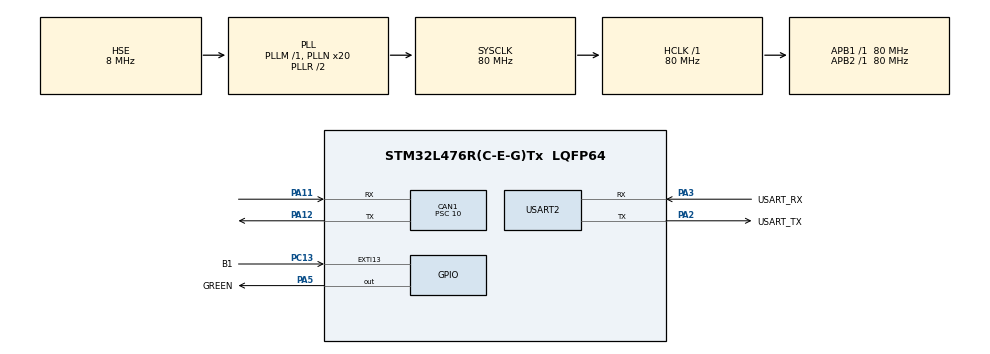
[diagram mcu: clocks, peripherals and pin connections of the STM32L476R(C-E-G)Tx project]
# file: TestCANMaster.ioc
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CAN1.BS1=CAN_BS1_13TQ
CAN1.BS2=CAN_BS2_2TQ
CAN1.CalculateBaudRate=500000
CAN1.CalculateTimeBit=2000
CAN1.CalculateTimeQuantum=125.0
CAN1.Mode=CAN_MODE_LOOPBACK
CAN1.Prescaler=10
Mcu.Family=STM32L4
Mcu.Name=STM32L476R(C-E-G)Tx
Mcu.Package=LQFP64
NVIC.CAN1_RX0_IRQn=true\:0\:0\:false\:false\:true\:true\:true\:true
NVIC.CAN1_RX1_IRQn=true\:0\:0\:false\:false\:true\:true\:true\:true
NVIC.PriorityGroup=NVIC_PRIORITYGROUP_4
PA11.Mode=CAN_Activate
PA11.Signal=CAN1_RX
PA12.Mode=CAN_Activate
PA12.Signal=CAN1_TX
PA13\ (JTMS-SWDIO).GPIO_Label=TMS
PA13\ (JTMS-SWDIO).Mode=Serial_Wire
PA13\ (JTMS-SWDIO).Signal=SYS_JTMS-SWDIO
PA14\ (JTCK-SWCLK).GPIO_Label=TCK
PA14\ (JTCK-SWCLK).Mode=Serial_Wire
PA14\ (JTCK-SWCLK).Signal=SYS_JTCK-SWCLK
PA2.GPIO_Label=USART_TX
PA2.GPIO_Mode=GPIO_MODE_AF_PP
PA2.GPIO_PuPd=GPIO_NOPULL
PA2.GPIO_Speed=GPIO_SPEED_FREQ_VERY_HIGH
PA2.Mode=Asynchronous
PA2.Signal=USART2_TX
PA3.GPIO_Label=USART_RX
PA3.GPIO_Mode=GPIO_MODE_AF_PP
PA3.GPIO_PuPd=GPIO_NOPULL
PA3.GPIO_Speed=GPIO_SPEED_FREQ_VERY_HIGH
PA3.Mode=Asynchronous
PA3.Signal=USART2_RX
PA5.GPIO_Label=GREEN
PA5.GPIO_ModeDefaultOutputPP=GPIO_MODE_OUTPUT_PP
PA5.GPIO_PuPd=GPIO_NOPULL
PA5.GPIO_Speed=GPIO_SPEED_FREQ_LOW
PA5.Signal=GPIO_Output
PB3\ (JTDO-TRACESWO).GPIO_Label=SWO
PB3\ (JTDO-TRACESWO).Signal=SYS_JTDO-SWO
PC13.GPIO_Label=B1
PC13.GPIO_ModeDefaultEXTI=GPIO_MODE_IT_FALLING
PC13.GPIO_PuPd=GPIO_NOPULL
PC13.Signal=GPXTI13
PC14-OSC32_IN\ (PC14).Mode=LSE-External-Oscillator
PC14-OSC32_IN\ (PC14).Signal=RCC_OSC32_IN
PC15-OSC32_OUT\ (PC15).Mode=LSE-External-Oscillator
PC15-OSC32_OUT\ (PC15).Signal=RCC_OSC32_OUT
PH0-OSC_IN\ (PH0).Mode=HSE-External-Clock-Source
PH0-OSC_IN\ (PH0).Signal=RCC_OSC_IN
PH1-OSC_OUT\ (PH1).Signal=RCC_OSC_OUT
ProjectManager.HeapSize=0x200
ProjectManager.StackSize=0x400
ProjectManager.TargetToolchain=STM32CubeIDE
RCC.ADCFreq_Value=32000000
RCC.AHBFreq_Value=80000000
RCC.APB1Freq_Value=80000000
RCC.APB1TimFreq_Value=80000000
RCC.APB2Freq_Value=80000000
RCC.APB2TimFreq_Value=80000000
RCC.CortexFreq_Value=80000000
RCC.HCLKFreq_Value=80000000
RCC.HSE_VALUE=8000000
RCC.HSI_VALUE=16000000
RCC.MSI_VALUE=4000000
RCC.PLLN=20
RCC.PLLSourceVirtual=RCC_PLLSOURCE_HSE
RCC.PREFETCH_ENABLE=1
RCC.SYSCLKFreq_VALUE=80000000
RCC.SYSCLKSource=RCC_SYSCLKSOURCE_PLLCLK
RCC.USBFreq_Value=32000000
RCC.VCOOutputFreq_Value=160000000
USART2.VirtualMode-Asynchronous=VM_ASYNC
board=NUCLEO-L476RG

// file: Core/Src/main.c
/* USER CODE BEGIN Header */
/**
  ******************************************************************************
  * @file           : main.c
  * @brief          : Main program body
  ******************************************************************************
  * @attention
  *
  * Copyright (c) 2023 STMicroelectronics.
  * All rights reserved.
  *
  * This software is licensed under terms that can be found in the LICENSE file
  * in the root directory of this software component.
  * If no LICENSE file comes with this software, it is provided AS-IS.
  *
  ******************************************************************************
  */
/* USER CODE END Header */
#include "main.h"

CAN_HandleTypeDef hcan1;

UART_HandleTypeDef huart2;

void SystemClock_Config(void);
static void MX_GPIO_Init(void);
static void MX_USART2_UART_Init(void);
static void MX_CAN1_Init(void);

/* USER CODE BEGIN 0 */
uint32_t TxMailbox;

uint8_t TxData[8];
uint8_t RxData[8];

CAN_TxHeaderTypeDef TxHeader;
CAN_RxHeaderTypeDef RxHeader;

uint8_t count;
void HAL_CAN_RxFifo0MsgPendingCallback(CAN_HandleTypeDef *hcan) {
	HAL_CAN_GetRxMessage(hcan, CAN_RX_FIFO0, &RxHeader, RxData);
}
/* USER CODE END 0 */

int main(void)
{

  /* MCU Configuration--------------------------------------------------------*/

  /* Reset of all peripherals, Initializes the Flash interface and the Systick. */
  HAL_Init();

  /* Configure the system clock */
  SystemClock_Config();

  /* Initialize all configured peripherals */
  MX_GPIO_Init();
  MX_USART2_UART_Init();
  MX_CAN1_Init();
  /* USER CODE BEGIN 2 */

  HAL_CAN_Start(&hcan1);

  HAL_CAN_ActivateNotification(&hcan1, CAN_IT_RX_FIFO0_MSG_PENDING);

  TxHeader.DLC = 1;
  TxHeader.ExtId = 0;
  TxHeader.IDE = CAN_ID_STD;
  TxHeader.RTR = CAN_RTR_DATA;
  TxHeader.StdId = 0x103;
  TxHeader.TransmitGlobalTime = DISABLE;

  TxData[0] = 0xf3;

  HAL_CAN_AddTxMessage(&hcan1, &TxHeader, TxData, &TxMailbox);
  /* USER CODE END 2 */

  /* Infinite loop */
  while (1)
  {

  }
}

void SystemClock_Config(void)
{
  RCC_OscInitTypeDef RCC_OscInitStruct = {0};
  RCC_ClkInitTypeDef RCC_ClkInitStruct = {0};

  /** Configure the main internal regulator output voltage
  */
  if (HAL_PWREx_ControlVoltageScaling(PWR_REGULATOR_VOLTAGE_SCALE1) != HAL_OK)
  {
    Error_Handler();
  }

  /** Initializes the RCC Oscillators according to the specified parameters
  * in the RCC_OscInitTypeDef structure.
  */
  RCC_OscInitStruct.OscillatorType = RCC_OSCILLATORTYPE_HSE;
  RCC_OscInitStruct.HSEState = RCC_HSE_BYPASS;
  RCC_OscInitStruct.PLL.PLLState = RCC_PLL_ON;
  RCC_OscInitStruct.PLL.PLLSource = RCC_PLLSOURCE_HSE;
  RCC_OscInitStruct.PLL.PLLM = 1;
  RCC_OscInitStruct.PLL.PLLN = 20;
  RCC_OscInitStruct.PLL.PLLP = RCC_PLLP_DIV7;
  RCC_OscInitStruct.PLL.PLLQ = RCC_PLLQ_DIV2;
  RCC_OscInitStruct.PLL.PLLR = RCC_PLLR_DIV2;
  if (HAL_RCC_OscConfig(&RCC_OscInitStruct) != HAL_OK)
  {
    Error_Handler();
  }

  /** Initializes the CPU, AHB and APB buses clocks
  */
  RCC_ClkInitStruct.ClockType = RCC_CLOCKTYPE_HCLK|RCC_CLOCKTYPE_SYSCLK
                              |RCC_CLOCKTYPE_PCLK1|RCC_CLOCKTYPE_PCLK2;
  RCC_ClkInitStruct.SYSCLKSource = RCC_SYSCLKSOURCE_PLLCLK;
  RCC_ClkInitStruct.AHBCLKDivider = RCC_SYSCLK_DIV1;
  RCC_ClkInitStruct.APB1CLKDivider = RCC_HCLK_DIV1;
  RCC_ClkInitStruct.APB2CLKDivider = RCC_HCLK_DIV1;

  if (HAL_RCC_ClockConfig(&RCC_ClkInitStruct, FLASH_LATENCY_4) != HAL_OK)
  {
    Error_Handler();
  }
}

static void MX_CAN1_Init(void)
{

  hcan1.Instance = CAN1;
  hcan1.Init.Prescaler = 10;
  hcan1.Init.Mode = CAN_MODE_LOOPBACK;
  hcan1.Init.SyncJumpWidth = CAN_SJW_1TQ;
  hcan1.Init.TimeSeg1 = CAN_BS1_13TQ;
  hcan1.Init.TimeSeg2 = CAN_BS2_2TQ;
  hcan1.Init.TimeTriggeredMode = DISABLE;
  hcan1.Init.AutoBusOff = DISABLE;
  hcan1.Init.AutoWakeUp = DISABLE;
  hcan1.Init.AutoRetransmission = DISABLE;
  hcan1.Init.ReceiveFifoLocked = DISABLE;
  hcan1.Init.TransmitFifoPriority = DISABLE;
  if (HAL_CAN_Init(&hcan1) != HAL_OK)
  {
    Error_Handler();
  }
  /* USER CODE BEGIN CAN1_Init 2 */
  CAN_FilterTypeDef canfilterconfig;

  canfilterconfig.FilterActivation = CAN_FILTER_ENABLE;
  canfilterconfig.FilterBank = 10;
  canfilterconfig.FilterFIFOAssignment = CAN_RX_FIFO0;
  canfilterconfig.FilterIdHigh = 0x103<<5;
  canfilterconfig.FilterIdLow = 0x0000;
  canfilterconfig.FilterMaskIdHigh = 0x103<<5;
  canfilterconfig.FilterMaskIdLow = 0x0000;
  canfilterconfig.FilterMode = CAN_FILTERMODE_IDMASK;
  canfilterconfig.FilterScale = CAN_FILTERSCALE_32BIT;
  canfilterconfig.SlaveStartFilterBank = 0;

   HAL_CAN_ConfigFilter(&hcan1, &canfilterconfig);

  /* USER CODE END CAN1_Init 2 */

}

static void MX_USART2_UART_Init(void)
{

  huart2.Instance = USART2;
  huart2.Init.BaudRate = 115200;
  huart2.Init.WordLength = UART_WORDLENGTH_8B;
  huart2.Init.StopBits = UART_STOPBITS_1;
  huart2.Init.Parity = UART_PARITY_NONE;
  huart2.Init.Mode = UART_MODE_TX_RX;
  huart2.Init.HwFlowCtl = UART_HWCONTROL_NONE;
  huart2.Init.OverSampling = UART_OVERSAMPLING_16;
  huart2.Init.OneBitSampling = UART_ONE_BIT_SAMPLE_DISABLE;
  huart2.AdvancedInit.AdvFeatureInit = UART_ADVFEATURE_NO_INIT;
  if (HAL_UART_Init(&huart2) != HAL_OK)
  {
    Error_Handler();
  }

}

static void MX_GPIO_Init(void)
{
  GPIO_InitTypeDef GPIO_InitStruct = {0};

  /* GPIO Ports Clock Enable */
  __HAL_RCC_GPIOC_CLK_ENABLE();
  __HAL_RCC_GPIOH_CLK_ENABLE();
  __HAL_RCC_GPIOA_CLK_ENABLE();
  __HAL_RCC_GPIOB_CLK_ENABLE();

  /*Configure GPIO pin Output Level */
  HAL_GPIO_WritePin(GREEN_GPIO_Port, GREEN_Pin, GPIO_PIN_RESET);

  /*Configure GPIO pin : B1_Pin */
  GPIO_InitStruct.Pin = B1_Pin;
  GPIO_InitStruct.Mode = GPIO_MODE_IT_FALLING;
  GPIO_InitStruct.Pull = GPIO_NOPULL;
  HAL_GPIO_Init(B1_GPIO_Port, &GPIO_InitStruct);

  /*Configure GPIO pin : GREEN_Pin */
  GPIO_InitStruct.Pin = GREEN_Pin;
  GPIO_InitStruct.Mode = GPIO_MODE_OUTPUT_PP;
  GPIO_InitStruct.Pull = GPIO_NOPULL;
  GPIO_InitStruct.Speed = GPIO_SPEED_FREQ_LOW;
  HAL_GPIO_Init(GREEN_GPIO_Port, &GPIO_InitStruct);

}

void Error_Handler(void)
{
  __disable_irq();
  while (1)
  {
  }
}
